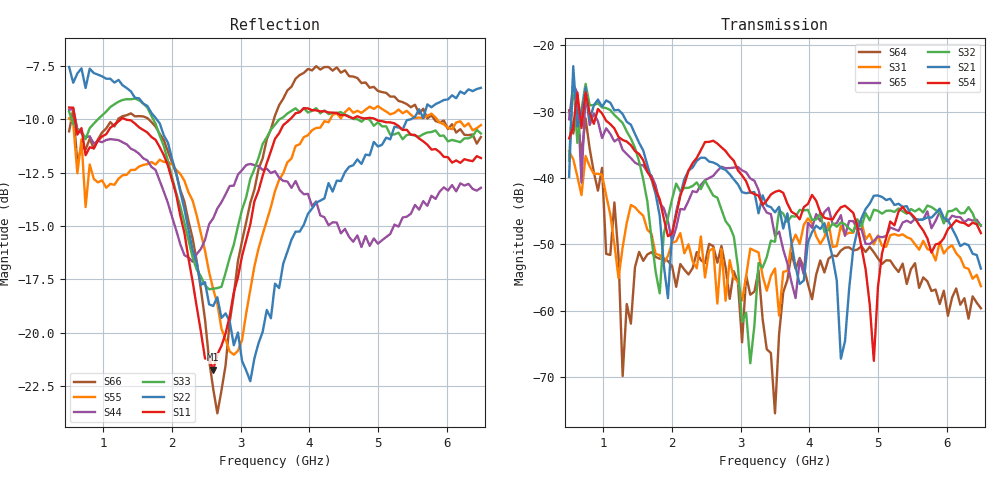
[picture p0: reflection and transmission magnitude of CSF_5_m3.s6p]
!Keysight Technologies,M9804A,MY58100912,A.14.10.03
!Date: Thursday, April 27, 2023 10:28:33
!Correction: S11(C  6-Port  )
!S12(C  6-Port  )
!S13(C  6-Port  )
!S14(C  6-Port  )
!S15(C  6-Port  )
!S16(C  6-Port  )
!S21(C  6-Port  )
!S22(C  6-Port  )
!S23(C  6-Port  )
!S24(C  6-Port  )
!S25(C  6-Port  )
!S26(C  6-Port  )
!S31(C  6-Port  )
!S32(C  6-Port  )
!S33(C  6-Port  )
!S34(C  6-Port  )
!S35(C  6-Port  )
!S36(C  6-Port  )
!S41(C  6-Port  )
!S42(C  6-Port  )
!S43(C  6-Port  )
!S44(C  6-Port  )
!S45(C  6-Port  )
!S46(C  6-Port  )
!S51(C  6-Port  )
!S52(C  6-Port  )
!S53(C  6-Port  )
!S54(C  6-Port  )
!S55(C  6-Port  )
!S56(C  6-Port  )
!S61(C  6-Port  )
!S62(C  6-Port  )
!S63(C  6-Port  )
!S64(C  6-Port  )
!S65(C  6-Port  )
!S66(C  6-Port  )
!S6P File: Measurement: :
# Hz S  RI  R 50
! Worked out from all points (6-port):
!   101 points, 500 MHz to 6.5 GHz, reference 50 ohm
!   strongest paths, dB at 500 MHz, 2 GHz, 3.5 GHz, 5 GHz, 6.5 GHz:
!     S54: -34.0, -48.3, -42.1, -56.4, -48.3
!     S21: -39.8, -48.4, -45.2, -42.6, -53.6
!     S32: -37.4, -43.2, -49.6, -44.9, -47.1
!     S65: -31.1, -49.5, -48.7, -48.8, -47.2
!     S31: -35.9, -49.7, -53.6, -48.7, -56.3
!     S64: -29.8, -53.2, -75.4, -52.1, -59.6
!   lowest |S11| = -21.7 dB at 2.6 GHz (marker M1), VSWR 1.18, Z = 42.7 + j1.97 ohm
!   |S11| at or under -10 dB: 585.9 MHz to 1.257 GHz (671.3 MHz wide, 72.8 % of centre); 1.321 GHz to 3.718 GHz (2.397 GHz wide, 95.1 % of centre); 4.964 GHz to end of sweep
